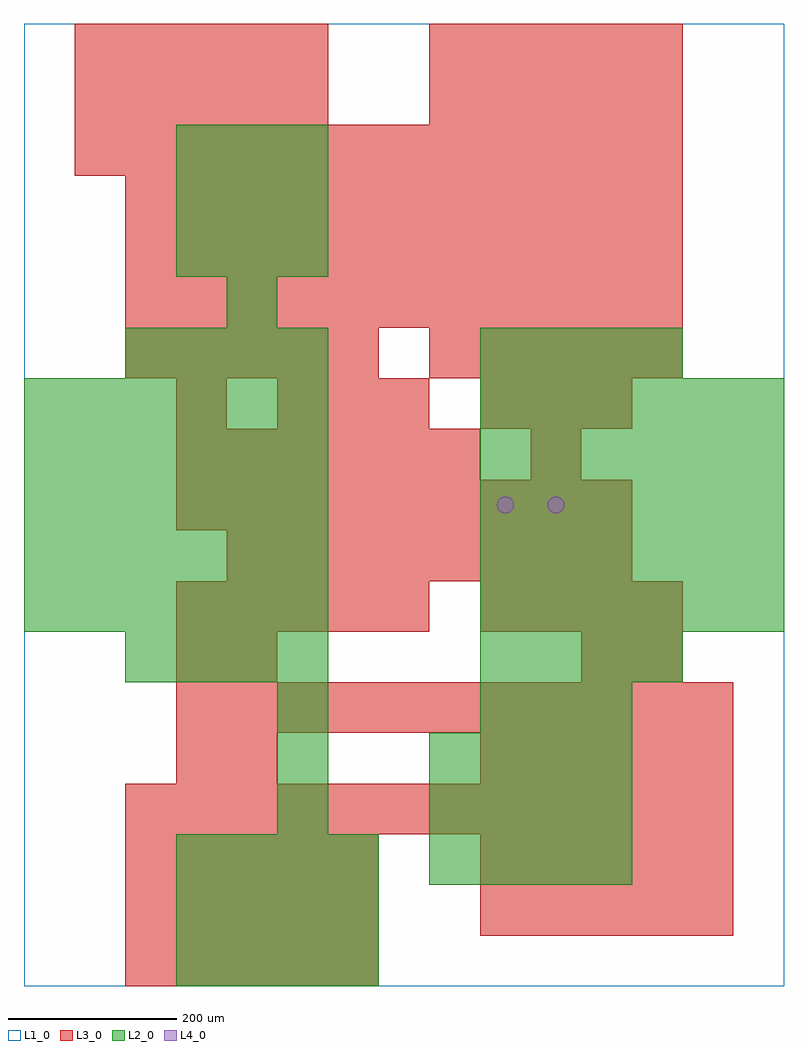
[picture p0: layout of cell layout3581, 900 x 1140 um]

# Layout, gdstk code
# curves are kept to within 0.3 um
import gdstk
lib = gdstk.Library(unit=1e-6, precision=1e-09)
def R(c, l, rs):  # rectangles x0, y0, x1, y1
    for r in rs: c.add(gdstk.rectangle(r[:2], r[2:], *l))
def A(c, l, x, y, w, h, nx, ny, dx, dy):  # array of equal rectangles
    R(c, l, [(x+i*dx, y+j*dy, x+i*dx+w, y+j*dy+h) for i in range(nx) for j in range(ny)])
def P(c, l, *ps):  # polygons
    for p in ps: c.add(gdstk.Polygon(p, *l))
L1_0 = (1, 0)
L2_0 = (2, 0)
L3_0 = (3, 0)
L4_0 = (4, 0)

layout3581 = lib.new_cell('layout3581')
R(layout3581, L1_0, [(0,0,900,1140)])
A(layout3581, L2_0, 180, 0, 60, 60, 4, 3, 60, 60)
A(layout3581, L2_0, 480, 120, 60, 60, 4, 3, 60, 60)
A(layout3581, L2_0, 300, 180, 60, 60, 1, 3, 0, 60)
A(layout3581, L2_0, 540, 300, 60, 60, 3, 1, 60, 0)
A(layout3581, L2_0, 120, 360, 60, 60, 4, 2, 60, 360)
A(layout3581, L2_0, 540, 360, 60, 60, 4, 2, 60, 360)
A(layout3581, L2_0, 0, 420, 60, 60, 6, 5, 60, 60)
A(layout3581, L2_0, 540, 420, 60, 60, 6, 5, 60, 60)
A(layout3581, L2_0, 180, 840, 60, 60, 3, 3, 60, 60)
R(layout3581, L2_0, [(240,780,300,840)])
A(layout3581, L3_0, 120, 0, 60, 60, 5, 3, 60, 60)
A(layout3581, L3_0, 540, 60, 60, 60, 5, 2, 60, 60)
A(layout3581, L3_0, 120, 180, 60, 60, 12, 1, 60, 0)
A(layout3581, L3_0, 540, 240, 60, 60, 5, 1, 60, 0)
A(layout3581, L3_0, 180, 300, 60, 60, 11, 1, 60, 0)
A(layout3581, L3_0, 180, 420, 60, 60, 5, 1, 60, 0)
A(layout3581, L3_0, 540, 420, 60, 60, 4, 1, 60, 0)
A(layout3581, L3_0, 240, 480, 60, 60, 8, 1, 60, 0)
A(layout3581, L3_0, 180, 540, 60, 60, 9, 1, 60, 0)
A(layout3581, L3_0, 180, 600, 60, 60, 6, 1, 60, 0)
A(layout3581, L3_0, 300, 660, 60, 60, 3, 1, 60, 0)
A(layout3581, L3_0, 540, 660, 60, 60, 3, 1, 60, 0)
A(layout3581, L3_0, 120, 720, 60, 60, 5, 1, 60, 0)
A(layout3581, L3_0, 480, 720, 60, 60, 5, 2, 60, 300)
A(layout3581, L3_0, 120, 780, 60, 60, 11, 3, 60, 60)
A(layout3581, L3_0, 60, 960, 60, 60, 12, 1, 60, 0)
A(layout3581, L3_0, 60, 1020, 60, 60, 5, 2, 60, 60)
A(layout3581, L3_0, 480, 1080, 60, 60, 5, 1, 60, 0)
R(layout3581, L3_0, [(180,240,240,300), (240,240,300,300), (180,360,240,420), (240,360,300,420), (660,360,720,420), (720,360,780,420), (600,600,660,660), (180,660,240,720)])
P(layout3581, L4_0, [(580,570),(579.239,573.827),(577.071,577.071),(573.827,579.239),(570,580),(566.173,579.239),(562.929,577.071),(560.761,573.827),(560,570),(560.761,566.173),(562.929,562.929),(566.173,560.761),(570,560),(573.827,560.761),(577.071,562.929),(579.239,566.173)],
  [(640,570),(639.239,573.827),(637.071,577.071),(633.827,579.239),(630,580),(626.173,579.239),(622.929,577.071),(620.761,573.827),(620,570),(620.761,566.173),(622.929,562.929),(626.173,560.761),(630,560),(633.827,560.761),(637.071,562.929),(639.239,566.173)])

lib.write_gds('layout3581.gds')
